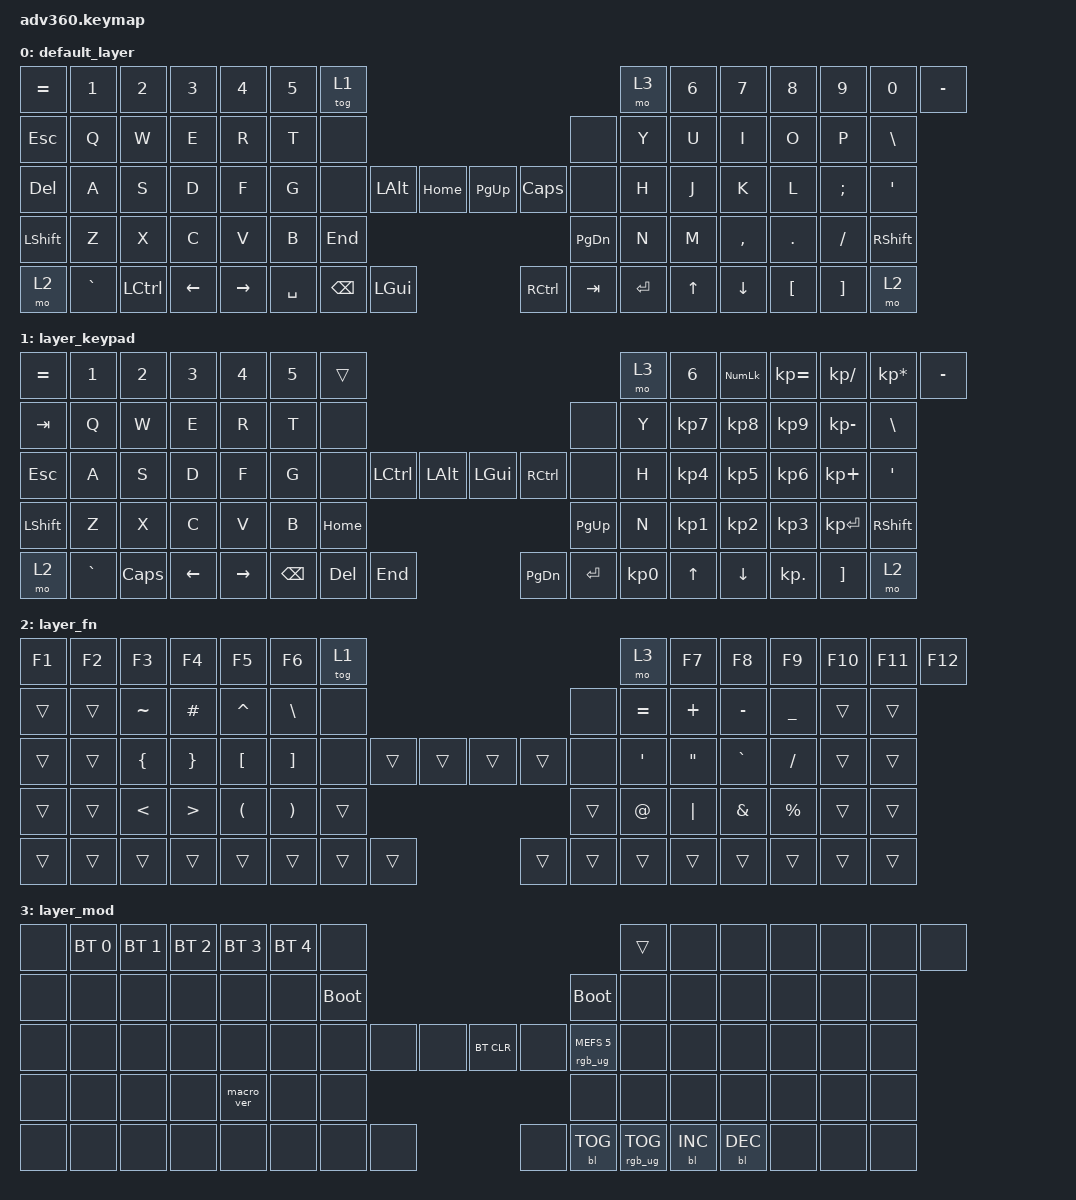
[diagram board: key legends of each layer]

/*
 * Copyright (c) 2020 The ZMK Contributors
 *
 * SPDX-License-Identifier: MIT
 */


/* THIS FILE WAS GENERATED!
 *
 * This file was generated automatically. You may or may not want to
 * edit it directly.
 */

#include <behaviors.dtsi>
#include <dt-bindings/zmk/keys.h>
#include <dt-bindings/zmk/bt.h>
#include <dt-bindings/zmk/rgb.h>
#include <dt-bindings/zmk/backlight.h>

/ {
  behaviors {
    #include "macros.dtsi"
    #include "version.dtsi"

    hm: homerow_mods {
        compatible = "zmk,behavior-hold-tap";
        label = "HOMEROW_MODS";
        #binding-cells = <2>;
        tapping-term-ms = <200>;
        quick_tap_ms = <175>;
        flavor = "tap-preferred";
        bindings = <&kp>, <&kp>;
    };
  };

    keymap {
        compatible = "zmk,keymap";


        default_layer {
            bindings = <
 &kp EQUAL     &kp N1     &kp N2    &kp N3     &kp N4  &kp N5               &tog 1                                                               &mo 3  &kp N6  &kp N7     &kp N8    &kp N9    &kp N0  &kp MINUS
   &kp ESC      &kp Q      &kp W     &kp E      &kp R   &kp T                &none                                                               &none   &kp Y   &kp U      &kp I     &kp O     &kp P   &kp BSLH
   &kp DEL      &kp A      &kp S     &kp D      &kp F   &kp G                &none  &kp LALT  &kp HOME                  &kp PG_UP  &kp CAPS      &none   &kp H   &kp J      &kp K     &kp L  &kp SEMI    &kp SQT
 &kp LSHFT      &kp Z      &kp X     &kp C      &kp V   &kp B                                  &kp END                  &kp PG_DN                        &kp N   &kp M  &kp COMMA   &kp DOT  &kp FSLH  &kp RSHFT
     &mo 2  &kp GRAVE  &kp LCTRL  &kp LEFT  &kp RIGHT                    &kp SPACE  &kp BSPC  &kp LGUI                  &kp RCTRL   &kp TAB  &kp ENTER          &kp UP   &kp DOWN  &kp LBKT  &kp RBKT      &mo 2
            >;
        };

        layer_keypad {
            bindings = <
 &kp EQUAL     &kp N1    &kp N2    &kp N3     &kp N4  &kp N5              &trans                                                                 &mo 3  &kp N6  &kp KP_NUM  &kp KP_EQUAL  &kp KP_DIVIDE  &kp KP_MULTIPLY  &kp MINUS
   &kp TAB      &kp Q     &kp W     &kp E      &kp R   &kp T               &none                                                                 &none   &kp Y   &kp KP_N7     &kp KP_N8      &kp KP_N9     &kp KP_MINUS   &kp BSLH
   &kp ESC      &kp A     &kp S     &kp D      &kp F   &kp G               &none  &kp LCTRL  &kp LALT                   &kp LGUI  &kp RCTRL      &none   &kp H   &kp KP_N4     &kp KP_N5      &kp KP_N6      &kp KP_PLUS    &kp SQT
 &kp LSHFT      &kp Z     &kp X     &kp C      &kp V   &kp B                                 &kp HOME                  &kp PG_UP                         &kp N   &kp KP_N1     &kp KP_N2      &kp KP_N3     &kp KP_ENTER  &kp RSHFT
     &mo 2  &kp GRAVE  &kp CAPS  &kp LEFT  &kp RIGHT                    &kp BSPC    &kp DEL   &kp END                  &kp PG_DN  &kp ENTER  &kp KP_N0              &kp UP      &kp DOWN     &kp KP_DOT         &kp RBKT      &mo 2
            >;
        };

        layer_fn {
            bindings = <
 &kp F1  &kp F2          &kp F3            &kp F4                &kp F5                 &kp F6            &tog 1                                                   &mo 3            &kp F7             &kp F8         &kp F9         &kp F10  &kp F11  &kp F12
 &trans  &trans       &kp TILDE          &kp HASH             &kp CARET          &kp BACKSLASH             &none                                                   &none         &kp EQUAL           &kp PLUS      &kp MINUS  &kp UNDERSCORE   &trans   &trans
 &trans  &trans  &kp LEFT_BRACE   &kp RIGHT_BRACE      &kp LEFT_BRACKET      &kp RIGHT_BRACKET             &none  &trans  &trans                  &trans  &trans   &none  &kp SINGLE_QUOTE  &kp DOUBLE_QUOTES      &kp GRAVE       &kp SLASH   &trans   &trans
 &trans  &trans   &kp LESS_THAN  &kp GREATER_THAN  &kp LEFT_PARENTHESIS  &kp RIGHT_PARENTHESIS                            &trans                  &trans                            &kp AT           &kp PIPE  &kp AMPERSAND     &kp PERCENT   &trans   &trans
 &trans  &trans          &trans            &trans                &trans                                   &trans  &trans  &trans                  &trans  &trans  &trans                               &trans         &trans          &trans   &trans   &trans
            >;
        };

        layer_mod {
            bindings = <
  &none  &bt BT_SEL 0  &bt BT_SEL 1  &bt BT_SEL 2  &bt BT_SEL 3  &bt BT_SEL 4                  &none                                                                          &trans   &none       &none       &none   &none   &none   &none
  &none         &none         &none         &none         &none         &none            &bootloader                                                                     &bootloader   &none       &none       &none   &none   &none   &none
  &none         &none         &none         &none         &none         &none                  &none   &none   &none                  &bt BT_CLR       &none  &rgb_ug RGB_MEFS_CMD 5   &none       &none       &none   &none   &none   &none
  &none         &none         &none         &none    &macro_ver         &none                                  &none                       &none                                       &none       &none       &none   &none   &none   &none
  &none         &none         &none         &none         &none                                &none   &none   &none                       &none  &bl BL_TOG         &rgb_ug RGB_TOG          &bl BL_INC  &bl BL_DEC   &none   &none   &none
            >;
        };

    };
};
